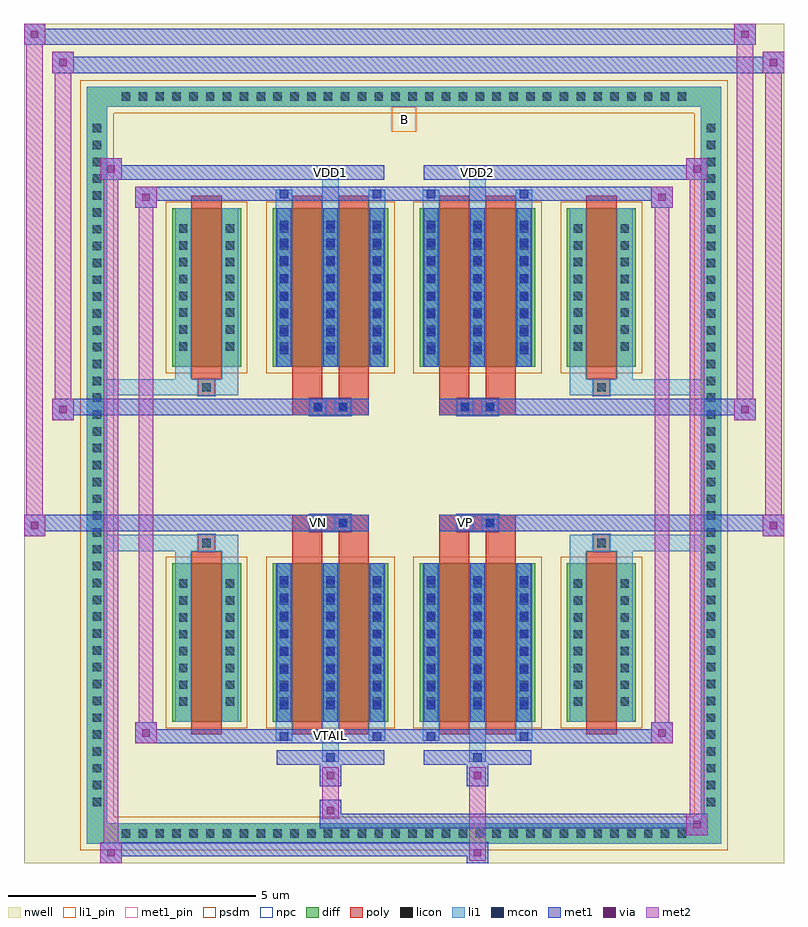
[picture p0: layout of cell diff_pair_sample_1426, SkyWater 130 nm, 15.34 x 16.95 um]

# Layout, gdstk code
import gdstk
lib = gdstk.Library(unit=1e-6, precision=5e-09)
def R(c, l, rs):  # rectangles x0, y0, x1, y1
    for r in rs: c.add(gdstk.rectangle(r[:2], r[2:], *l))
def A(c, l, x, y, w, h, nx, ny, dx, dy):  # array of equal rectangles
    R(c, l, [(x+i*dx, y+j*dy, x+i*dx+w, y+j*dy+h) for i in range(nx) for j in range(ny)])
def P(c, l, *ps):  # polygons
    for p in ps: c.add(gdstk.Polygon(p, *l))
nwell = (64, 20)
diff = (65, 20)
poly = (66, 20)
licon = (66, 44)
li1_pin = (67, 16)
li1 = (67, 20)
mcon = (67, 44)
met1_pin = (68, 16)
met1 = (68, 20)
via = (68, 44)
met2 = (69, 20)
psdm = (94, 20)
npc = (95, 20)

diff_pair_sample_1426 = lib.new_cell('diff_pair_sample_1426')
R(diff_pair_sample_1426, nwell, [(-7.67,-8.04,7.67,8.91), (-4.99,-6.23,-0.01,-0.805), (0.01,-6.23,4.99,-0.805), (-4.99,0.805,-0.01,6.23), (0.01,0.805,4.99,6.23)])
A(diff_pair_sample_1426, diff, -5.815, -7.64, 0.41, 0.41, 34, 2, 0.34, 14.87)
A(diff_pair_sample_1426, diff, -6.4, -7.005, 0.41, 0.41, 1, 41, 0, 0.34)
A(diff_pair_sample_1426, diff, 5.99, -7.005, 0.41, 0.41, 1, 41, 0, 0.34)
R(diff_pair_sample_1426, diff, [(-5.815,-7.64,5.815,-7.23), (-6.4,-7.005,-5.99,7.005), (5.99,-7.005,6.4,7.005), (-4.68,-5.185,-3.29,-1.985), (-2.65,-5.185,-0.32,-1.985), (0.32,-5.185,2.65,-1.985), (3.29,-5.185,4.68,-1.985), (-4.68,1.985,-3.29,5.185), (-2.65,1.985,-0.32,5.185), (0.32,1.985,2.65,5.185), (3.29,1.985,4.68,5.185), (-5.815,7.23,5.815,7.64)])
P(diff_pair_sample_1426, diff, [(6.4,7.64),(-6.4,7.64),(-6.4,-7.23),(-5.99,-7.23),(-5.99,7.23),(5.99,7.23),(5.99,-7.23),(-5.99,-7.23),(-6.4,-7.23),(-6.4,-7.64),(6.4,-7.64)])
R(diff_pair_sample_1426, poly, [(-4.29,-5.435,-3.68,-1.735), (-2.26,-5.435,-1.65,-1.735), (-1.32,-5.435,-0.71,-1.735), (0.71,-5.435,1.32,-1.735), (1.65,-5.435,2.26,-1.735), (3.68,-5.435,4.29,-1.735), (-4.15,-1.735,-3.82,-1.405), (-4.15,-1.735,-3.82,-1.405), (-2.26,-1.735,-1.65,-1.335), (-1.32,-1.735,-0.71,-1.335), (0.71,-1.735,1.32,-1.335), (1.65,-1.735,2.26,-1.335), (3.82,-1.735,4.15,-1.405), (3.82,-1.735,4.15,-1.405), (-2.26,-1.335,-0.71,-1.005), (-1.9,-1.335,-1.57,-1.005), (-1.4,-1.335,-1.07,-1.005), (0.71,-1.335,2.26,-1.005), (1.07,-1.335,1.4,-1.005), (1.57,-1.335,1.9,-1.005), (-2.26,1.005,-0.71,1.335), (-1.9,1.005,-1.57,1.335), (-1.4,1.005,-1.07,1.335), (0.71,1.005,2.26,1.335), (1.07,1.005,1.4,1.335), (1.57,1.005,1.9,1.335), (-2.26,1.335,-1.65,1.735), (-1.32,1.335,-0.71,1.735), (0.71,1.335,1.32,1.735), (1.65,1.335,2.26,1.735), (-4.15,1.405,-3.82,1.735), (-4.15,1.405,-3.82,1.735), (3.82,1.405,4.15,1.735), (3.82,1.405,4.15,1.735), (-4.29,1.735,-3.68,5.435), (-2.26,1.735,-1.65,5.435), (-1.32,1.735,-0.71,5.435), (0.71,1.735,1.32,5.435), (1.65,1.735,2.26,5.435), (3.68,1.735,4.29,5.435)])
A(diff_pair_sample_1426, licon, -5.695, -7.52, 0.17, 0.17, 34, 2, 0.34, 14.87)
A(diff_pair_sample_1426, licon, -6.28, -6.885, 0.17, 0.17, 1, 41, 0, 0.34)
A(diff_pair_sample_1426, licon, 6.11, -6.885, 0.17, 0.17, 1, 41, 0, 0.34)
A(diff_pair_sample_1426, licon, -4.54, -4.86, 0.17, 0.17, 1, 8, 0, 0.34)
A(diff_pair_sample_1426, licon, -3.6, -4.86, 0.17, 0.17, 1, 8, 0, 0.34)
A(diff_pair_sample_1426, licon, -2.51, -4.86, 0.17, 0.17, 3, 8, 0.94, 0.34)
A(diff_pair_sample_1426, licon, 0.46, -4.86, 0.17, 0.17, 3, 8, 0.94, 0.34)
A(diff_pair_sample_1426, licon, 3.43, -4.86, 0.17, 0.17, 1, 8, 0, 0.34)
A(diff_pair_sample_1426, licon, 4.37, -4.86, 0.17, 0.17, 1, 8, 0, 0.34)
A(diff_pair_sample_1426, licon, -4.54, 2.31, 0.17, 0.17, 1, 8, 0, 0.34)
A(diff_pair_sample_1426, licon, -3.6, 2.31, 0.17, 0.17, 1, 8, 0, 0.34)
A(diff_pair_sample_1426, licon, -2.51, 2.31, 0.17, 0.17, 3, 8, 0.94, 0.34)
A(diff_pair_sample_1426, licon, 0.46, 2.31, 0.17, 0.17, 3, 8, 0.94, 0.34)
A(diff_pair_sample_1426, licon, 3.43, 2.31, 0.17, 0.17, 1, 8, 0, 0.34)
A(diff_pair_sample_1426, licon, 4.37, 2.31, 0.17, 0.17, 1, 8, 0, 0.34)
R(diff_pair_sample_1426, licon, [(-4.07,-1.655,-3.9,-1.485), (3.9,-1.655,4.07,-1.485), (-1.82,-1.255,-1.65,-1.085), (-1.32,-1.255,-1.15,-1.085), (1.15,-1.255,1.32,-1.085), (1.65,-1.255,1.82,-1.085), (-1.82,1.085,-1.65,1.255), (-1.32,1.085,-1.15,1.255), (1.15,1.085,1.32,1.255), (1.65,1.085,1.82,1.255), (-4.07,1.485,-3.9,1.655), (3.9,1.485,4.07,1.655)])
R(diff_pair_sample_1426, li1_pin, [(-0.25,6.73,0.25,7.23)])
A(diff_pair_sample_1426, li1, -5.775, -7.6, 0.33, 0.33, 34, 2, 0.34, 14.87)
A(diff_pair_sample_1426, li1, -6.36, -6.965, 0.33, 0.33, 1, 41, 0, 0.34)
A(diff_pair_sample_1426, li1, 6.03, -6.965, 0.33, 0.33, 1, 41, 0, 0.34)
A(diff_pair_sample_1426, li1, -2.59, -5.185, 0.33, 3.2, 3, 2, 0.94, 7.17)
A(diff_pair_sample_1426, li1, 0.38, -5.185, 0.33, 3.2, 3, 2, 0.94, 7.17)
A(diff_pair_sample_1426, li1, -4.62, -4.94, 0.33, 0.33, 1, 8, 0, 0.34)
A(diff_pair_sample_1426, li1, -3.68, -4.94, 0.33, 0.33, 1, 8, 0, 0.34)
A(diff_pair_sample_1426, li1, -2.59, -4.94, 0.33, 0.33, 3, 8, 0.94, 0.34)
A(diff_pair_sample_1426, li1, 0.38, -4.94, 0.33, 0.33, 3, 8, 0.94, 0.34)
A(diff_pair_sample_1426, li1, 3.35, -4.94, 0.33, 0.33, 1, 8, 0, 0.34)
A(diff_pair_sample_1426, li1, 4.29, -4.94, 0.33, 0.33, 1, 8, 0, 0.34)
A(diff_pair_sample_1426, li1, -2.51, -4.93, 0.17, 0.17, 3, 8, 0.94, 0.36)
A(diff_pair_sample_1426, li1, -2.51, -4.93, 0.17, 2.69, 3, 2, 0.94, 7.17)
A(diff_pair_sample_1426, li1, 0.46, -4.93, 0.17, 0.17, 3, 8, 0.94, 0.36)
A(diff_pair_sample_1426, li1, 0.46, -4.93, 0.17, 2.69, 3, 2, 0.94, 7.17)
A(diff_pair_sample_1426, li1, -4.62, 2.23, 0.33, 0.33, 1, 8, 0, 0.34)
A(diff_pair_sample_1426, li1, -3.68, 2.23, 0.33, 0.33, 1, 8, 0, 0.34)
A(diff_pair_sample_1426, li1, -2.59, 2.23, 0.33, 0.33, 3, 8, 0.94, 0.34)
A(diff_pair_sample_1426, li1, 0.38, 2.23, 0.33, 0.33, 3, 8, 0.94, 0.34)
A(diff_pair_sample_1426, li1, 3.35, 2.23, 0.33, 0.33, 1, 8, 0, 0.34)
A(diff_pair_sample_1426, li1, 4.29, 2.23, 0.33, 0.33, 1, 8, 0, 0.34)
A(diff_pair_sample_1426, li1, -2.51, 2.24, 0.17, 0.17, 3, 8, 0.94, 0.36)
A(diff_pair_sample_1426, li1, 0.46, 2.24, 0.17, 0.17, 3, 8, 0.94, 0.36)
R(diff_pair_sample_1426, li1, [(-6.4,-7.64,-5.99,-7.23), (-6.4,-7.64,-5.99,-7.23), (-5.99,-7.64,5.99,-7.23), (5.99,-7.64,6.4,-7.23), (5.99,-7.64,6.4,-7.23), (-6.4,-7.23,-5.99,7.23), (5.99,-7.23,6.4,7.23), (-1.65,-5.99,-1.32,-5.185), (-1.57,-5.99,-1.4,-5.82), (1.32,-5.99,1.65,-5.185), (1.4,-5.99,1.57,-5.82), (-2.59,-5.56,-2.26,-5.185), (-2.51,-5.56,-2.34,-5.39), (-0.71,-5.56,-0.38,-5.185), (-0.63,-5.56,-0.46,-5.39), (0.38,-5.56,0.71,-5.185), (0.46,-5.56,0.63,-5.39), (2.26,-5.56,2.59,-5.185), (2.34,-5.56,2.51,-5.39), (-4.62,-5.185,-4.29,-1.985), (-3.68,-5.185,-3.35,-1.985), (3.35,-5.185,3.68,-1.985), (4.29,-5.185,4.62,-1.985), (-4.62,-1.985,-4.29,-1.405), (-3.68,-1.985,-3.35,-1.405), (3.35,-1.985,3.68,-1.405), (4.29,-1.985,4.62,-1.405), (-6.4,-1.735,-4.15,-1.405), (-4.62,-1.735,-4.15,-1.405), (-4.15,-1.735,-3.82,-1.405), (-3.82,-1.735,-3.35,-1.405), (3.35,-1.735,3.82,-1.405), (3.82,-1.735,4.15,-1.405), (3.82,-1.735,6.4,-1.405), (4.15,-1.735,4.62,-1.405), (-1.9,-1.335,-1.57,-1.005), (-1.4,-1.335,-1.07,-1.005), (1.07,-1.335,1.4,-1.005), (1.57,-1.335,1.9,-1.005), (-1.9,1.005,-1.57,1.335), (-1.4,1.005,-1.07,1.335), (1.07,1.005,1.4,1.335), (1.57,1.005,1.9,1.335), (-6.4,1.405,-4.15,1.735), (-4.62,1.405,-4.15,1.735), (-4.62,1.405,-4.29,1.985), (-4.15,1.405,-3.82,1.735), (-3.82,1.405,-3.35,1.735), (-3.68,1.405,-3.35,1.985), (3.35,1.405,3.82,1.735), (3.35,1.405,3.68,1.985), (3.82,1.405,4.15,1.735), (3.82,1.405,6.4,1.735), (4.15,1.405,4.62,1.735), (4.29,1.405,4.62,1.985), (-4.62,1.985,-4.29,5.185), (-3.68,1.985,-3.35,5.185), (3.35,1.985,3.68,5.185), (4.29,1.985,4.62,5.185), (-2.59,5.185,-2.26,5.56), (-1.65,5.185,-1.32,5.99), (-0.71,5.185,-0.38,5.56), (0.38,5.185,0.71,5.56), (1.32,5.185,1.65,5.99), (2.26,5.185,2.59,5.56), (-2.51,5.39,-2.34,5.56), (-0.63,5.39,-0.46,5.56), (0.46,5.39,0.63,5.56), (2.34,5.39,2.51,5.56), (-1.57,5.82,-1.4,5.99), (1.4,5.82,1.57,5.99), (-6.4,7.23,-5.99,7.64), (-6.4,7.23,-5.99,7.64), (-5.99,7.23,5.99,7.64), (5.99,7.23,6.4,7.64), (5.99,7.23,6.4,7.64)])
A(diff_pair_sample_1426, mcon, -2.51, -4.93, 0.17, 0.17, 3, 8, 0.94, 0.36)
A(diff_pair_sample_1426, mcon, 0.46, -4.93, 0.17, 0.17, 3, 8, 0.94, 0.36)
A(diff_pair_sample_1426, mcon, -2.51, 2.24, 0.17, 0.17, 3, 8, 0.94, 0.36)
A(diff_pair_sample_1426, mcon, 0.46, 2.24, 0.17, 0.17, 3, 8, 0.94, 0.36)
R(diff_pair_sample_1426, mcon, [(-1.57,-5.99,-1.4,-5.82), (1.4,-5.99,1.57,-5.82), (-2.51,-5.56,-2.34,-5.39), (-0.63,-5.56,-0.46,-5.39), (0.46,-5.56,0.63,-5.39), (2.34,-5.56,2.51,-5.39), (-1.82,-1.255,-1.65,-1.085), (-1.32,-1.255,-1.15,-1.085), (1.15,-1.255,1.32,-1.085), (1.65,-1.255,1.82,-1.085), (-1.82,1.085,-1.65,1.255), (-1.32,1.085,-1.15,1.255), (1.15,1.085,1.32,1.255), (1.65,1.085,1.82,1.255), (-2.51,5.39,-2.34,5.56), (-0.63,5.39,-0.46,5.56), (0.46,5.39,0.63,5.56), (2.34,5.39,2.51,5.56), (-1.57,5.82,-1.4,5.99), (1.4,5.82,1.57,5.99)])
R(diff_pair_sample_1426, met1_pin, [(-1.62,-5.6,-1.35,-5.33), (-1.87,-1.295,-1.6,-1.025), (1.1,-1.295,1.37,-1.025), (-1.62,5.78,-1.35,6.05), (1.35,5.78,1.62,6.05)])
A(diff_pair_sample_1426, met1, -2.57, -5.185, 0.29, 3.2, 3, 2, 0.94, 7.17)
A(diff_pair_sample_1426, met1, 0.4, -5.185, 0.29, 3.2, 3, 2, 0.94, 7.17)
A(diff_pair_sample_1426, met1, -2.57, -4.99, 0.29, 0.29, 3, 8, 0.94, 0.36)
A(diff_pair_sample_1426, met1, 0.4, -4.99, 0.29, 0.29, 3, 8, 0.94, 0.36)
A(diff_pair_sample_1426, met1, -2.57, 2.18, 0.29, 0.29, 3, 8, 0.94, 0.36)
A(diff_pair_sample_1426, met1, 0.4, 2.18, 0.29, 0.29, 3, 8, 0.94, 0.36)
R(diff_pair_sample_1426, met1, [(-6.13,-8.04,-5.7,-7.61), (1.27,-8.04,1.7,-7.61), (-6.13,-7.9,1.7,-7.61), (5.7,-7.47,6.13,-7.04), (-1.7,-7.33,6.13,-7.04), (-1.7,-7.19,-1.27,-6.76), (-1.7,-6.48,-1.27,-6.05), (1.27,-6.48,1.7,-6.05), (-2.57,-6.05,-0.4,-5.76), (-1.63,-6.05,-1.34,-5.76), (0.4,-6.05,2.57,-5.76), (1.34,-6.05,1.63,-5.76), (-5.42,-5.62,-4.99,-5.19), (-5.42,-5.62,-2.57,-5.33), (-2.57,-5.62,-2.28,-5.33), (-2.57,-5.62,-0.4,-5.33), (-0.69,-5.62,-0.4,-5.33), (-0.4,-5.62,0.4,-5.33), (0.4,-5.62,0.69,-5.33), (0.4,-5.62,2.57,-5.33), (2.28,-5.62,2.57,-5.33), (2.57,-5.62,5.42,-5.33), (4.99,-5.62,5.42,-5.19), (-7.67,-1.435,-7.24,-1.005), (7.24,-1.435,7.67,-1.005), (-7.67,-1.335,-0.71,-1.005), (-2.26,-1.335,-0.71,-1.005), (0.71,-1.335,2.26,-1.005), (0.71,-1.335,7.67,-1.005), (-1.88,-1.315,-1.59,-1.025), (-1.38,-1.315,-1.09,-1.025), (1.09,-1.315,1.38,-1.025), (1.59,-1.315,1.88,-1.025), (-7.1,0.905,-6.67,1.335), (6.67,0.905,7.1,1.335), (-7.1,1.005,-2.26,1.335), (-2.26,1.005,-0.71,1.335), (0.71,1.005,2.26,1.335), (2.26,1.005,7.1,1.335), (-1.88,1.025,-1.59,1.315), (-1.38,1.025,-1.09,1.315), (1.09,1.025,1.38,1.315), (1.59,1.025,1.88,1.315), (-5.42,5.19,-4.99,5.62), (4.99,5.19,5.42,5.62), (-5.42,5.33,-2.57,5.62), (-2.57,5.33,-2.28,5.62), (-2.57,5.33,-0.4,5.62), (-0.69,5.33,-0.4,5.62), (-0.4,5.33,0.4,5.62), (0.4,5.33,0.69,5.62), (0.4,5.33,2.57,5.62), (2.28,5.33,2.57,5.62), (2.57,5.33,5.42,5.62), (-6.13,5.76,-5.7,6.19), (-6.13,5.76,-2.57,6.05), (-2.57,5.76,-0.4,6.05), (-1.63,5.76,-1.34,6.05), (0.4,5.76,2.57,6.05), (1.34,5.76,1.63,6.05), (2.57,5.76,6.13,6.05), (5.7,5.76,6.13,6.19), (-7.1,7.91,-6.67,8.34), (-7.1,7.91,-4.99,8.24), (-4.99,7.91,4.99,8.24), (4.99,7.91,7.67,8.24), (7.24,7.91,7.67,8.34), (-7.67,8.48,-7.24,8.91), (-7.67,8.48,-4.99,8.81), (-4.99,8.48,4.99,8.81), (4.99,8.48,7.1,8.81), (6.67,8.48,7.1,8.91)])
R(diff_pair_sample_1426, via, [(-5.99,-7.9,-5.84,-7.75), (1.41,-7.9,1.56,-7.75), (5.84,-7.33,5.99,-7.18), (-1.56,-7.05,-1.41,-6.9), (-1.56,-6.34,-1.41,-6.19), (1.41,-6.34,1.56,-6.19), (-5.28,-5.48,-5.13,-5.33), (5.13,-5.48,5.28,-5.33), (-7.53,-1.295,-7.38,-1.145), (7.38,-1.295,7.53,-1.145), (-6.96,1.045,-6.81,1.195), (6.81,1.045,6.96,1.195), (-5.28,5.33,-5.13,5.48), (5.13,5.33,5.28,5.48), (-5.99,5.9,-5.84,6.05), (5.84,5.9,5.99,6.05), (-6.96,8.05,-6.81,8.2), (7.38,8.05,7.53,8.2), (-7.53,8.62,-7.38,8.77), (6.81,8.62,6.96,8.77)])
R(diff_pair_sample_1426, met2, [(-6.13,-8.04,-5.7,-7.61), (-6.06,-8.04,-5.77,6.19), (-5.77,-8.04,-5.7,-7.61), (-6.08,-7.99,-5.75,-7.66), (1.32,-7.99,1.65,-7.66), (1.32,-7.66,1.65,-6.43), (5.7,-7.47,6.13,-7.04), (5.77,-7.47,6.06,6.19), (6.06,-7.47,6.13,-7.04), (5.75,-7.42,6.08,-7.09), (-1.65,-7.14,-1.32,-6.81), (-1.65,-6.81,-1.32,-6.43), (-1.65,-6.43,-1.32,-6.1), (1.32,-6.43,1.65,-6.1), (-5.42,-5.62,-4.99,-5.19), (-5.35,-5.62,-5.06,5.62), (-5.06,-5.62,-4.99,-5.19), (4.99,-5.62,5.42,-5.19), (5.06,-5.62,5.35,5.62), (5.35,-5.62,5.42,-5.19), (-5.37,-5.57,-5.04,-5.24), (5.04,-5.57,5.37,-5.24), (-7.67,-1.435,-7.24,-1.005), (-7.62,-1.435,-7.29,8.91), (-7.29,-1.435,-7.24,-1.005), (7.24,-1.435,7.67,-1.005), (7.29,-1.435,7.62,8.34), (7.62,-1.435,7.67,-1.005), (-7.62,-1.385,-7.29,-1.055), (7.29,-1.385,7.62,-1.055), (-7.1,0.905,-6.67,1.335), (-7.05,0.905,-6.72,8.34), (-6.72,0.905,-6.67,1.335), (6.67,0.905,7.1,1.335), (6.72,0.905,7.05,8.91), (7.05,0.905,7.1,1.335), (-7.05,0.955,-6.72,1.285), (6.72,0.955,7.05,1.285), (-5.42,5.19,-4.99,5.62), (-5.06,5.19,-4.99,5.62), (4.99,5.19,5.42,5.62), (5.35,5.19,5.42,5.62), (-5.37,5.24,-5.04,5.57), (5.04,5.24,5.37,5.57), (-6.13,5.76,-5.7,6.19), (-5.77,5.76,-5.7,6.19), (5.7,5.76,6.13,6.19), (6.06,5.76,6.13,6.19), (-6.08,5.81,-5.75,6.14), (5.75,5.81,6.08,6.14), (-7.1,7.91,-6.67,8.34), (-6.72,7.91,-6.67,8.34), (7.24,7.91,7.67,8.34), (7.62,7.91,7.67,8.34), (-7.05,7.96,-6.72,8.29), (7.29,7.96,7.62,8.29), (-7.67,8.48,-7.24,8.91), (-7.29,8.48,-7.24,8.91), (6.67,8.48,7.1,8.91), (7.05,8.48,7.1,8.91), (-7.62,8.53,-7.29,8.86), (6.72,8.53,7.05,8.86)])
R(diff_pair_sample_1426, psdm, [(-4.81,-5.315,-3.16,-1.855), (-2.78,-5.315,-0.19,-1.855), (0.19,-5.315,2.78,-1.855), (3.16,-5.315,4.81,-1.855), (-4.81,1.855,-3.16,5.315), (-2.78,1.855,-0.19,5.315), (0.19,1.855,2.78,5.315), (3.16,1.855,4.81,5.315)])
P(diff_pair_sample_1426, psdm, [(6.53,7.77),(-6.53,7.77),(-6.53,-7.1),(-5.86,-7.1),(-5.86,7.1),(5.86,7.1),(5.86,-7.1),(-5.86,-7.1),(-6.53,-7.1),(-6.53,-7.77),(6.53,-7.77)])
R(diff_pair_sample_1426, npc, [(-4.17,-1.755,-3.8,-1.385), (3.8,-1.755,4.17,-1.385), (-1.92,-1.355,-1.55,-0.985), (-1.92,-1.355,-1.05,-0.985), (-1.92,-1.355,-1.05,-0.985), (-1.42,-1.355,-1.05,-0.985), (1.05,-1.355,1.42,-0.985), (1.05,-1.355,1.92,-0.985), (1.05,-1.355,1.92,-0.985), (1.55,-1.355,1.92,-0.985), (-1.92,0.985,-1.55,1.355), (-1.92,0.985,-1.05,1.355), (-1.92,0.985,-1.05,1.355), (-1.42,0.985,-1.05,1.355), (1.05,0.985,1.42,1.355), (1.05,0.985,1.92,1.355), (1.05,0.985,1.92,1.355), (1.55,0.985,1.92,1.355), (-4.17,1.385,-3.8,1.755), (3.8,1.385,4.17,1.755)])
diff_pair_sample_1426.add(gdstk.Label('VTAIL', (-1.485,-5.465), layer=68, texttype=5))
diff_pair_sample_1426.add(gdstk.Label('VN', (-1.735,-1.16), layer=68, texttype=5))
diff_pair_sample_1426.add(gdstk.Label('VP', (1.235,-1.16), layer=68, texttype=5))
diff_pair_sample_1426.add(gdstk.Label('B', (0,6.98), layer=67, texttype=5))
diff_pair_sample_1426.add(gdstk.Label('VDD2', (1.485,5.915), layer=68, texttype=5))
diff_pair_sample_1426.add(gdstk.Label('VDD1', (-1.485,5.915), layer=68, texttype=5))

lib.write_gds('diff_pair_sample_1426.gds')
